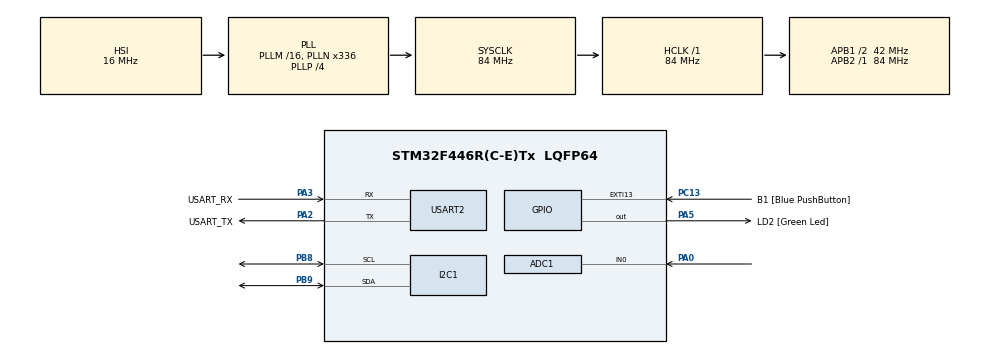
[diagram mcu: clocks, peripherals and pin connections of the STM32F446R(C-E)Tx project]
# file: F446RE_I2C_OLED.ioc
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ADC1.Channel-0\#ChannelRegularConversion=ADC_CHANNEL_0
ADC1.NbrOfConversionFlag=1
ADC1.Rank-0\#ChannelRegularConversion=1
ADC1.SamplingTime-0\#ChannelRegularConversion=ADC_SAMPLETIME_3CYCLES
ADC1.master=1
I2C1.I2C_Mode=I2C_Fast
Mcu.Family=STM32F4
Mcu.Name=STM32F446R(C-E)Tx
Mcu.Package=LQFP64
NVIC.PriorityGroup=NVIC_PRIORITYGROUP_0
PA0-WKUP.Signal=ADCx_IN0
PA13.GPIO_Label=TMS
PA13.Mode=Serial_Wire
PA13.Signal=SYS_JTMS-SWDIO
PA14.GPIO_Label=TCK
PA14.Mode=Serial_Wire
PA14.Signal=SYS_JTCK-SWCLK
PA2.GPIO_Label=USART_TX
PA2.Mode=Asynchronous
PA2.Signal=USART2_TX
PA3.GPIO_Label=USART_RX
PA3.Mode=Asynchronous
PA3.Signal=USART2_RX
PA5.GPIO_Label=LD2 [Green Led]
PA5.Signal=GPIO_Output
PB3.GPIO_Label=SWO
PB3.Signal=SYS_JTDO-SWO
PB8.Mode=I2C
PB8.Signal=I2C1_SCL
PB9.Mode=I2C
PB9.Signal=I2C1_SDA
PC13.GPIO_Label=B1 [Blue PushButton]
PC13.GPIO_ModeDefaultEXTI=GPIO_MODE_IT_FALLING
PC13.Signal=GPXTI13
PC14-OSC32_IN.Mode=LSE-External-Oscillator
PC14-OSC32_IN.Signal=RCC_OSC32_IN
PC15-OSC32_OUT.Mode=LSE-External-Oscillator
PC15-OSC32_OUT.Signal=RCC_OSC32_OUT
PH0-OSC_IN.Mode=HSE-External-Oscillator
PH0-OSC_IN.Signal=RCC_OSC_IN
PH1-OSC_OUT.Mode=HSE-External-Oscillator
PH1-OSC_OUT.Signal=RCC_OSC_OUT
ProjectManager.HeapSize=0x200
ProjectManager.StackSize=0x400
ProjectManager.TargetToolchain=STM32CubeIDE
RCC.48MHZClocksFreq_Value=84000000
RCC.AHBFreq_Value=84000000
RCC.APB1CLKDivider=RCC_HCLK_DIV2
RCC.APB1Freq_Value=42000000
RCC.APB1TimFreq_Value=84000000
RCC.APB2Freq_Value=84000000
RCC.APB2TimFreq_Value=84000000
RCC.CortexFreq_Value=84000000
RCC.FLatency-AdvancedSettings=FLASH_LATENCY_2
RCC.HCLKFreq_Value=84000000
RCC.HSE_VALUE=8000000
RCC.HSI_VALUE=16000000
RCC.PLLN=336
RCC.PLLP=RCC_PLLP_DIV4
RCC.SYSCLKFreq_VALUE=84000000
RCC.SYSCLKSource=RCC_SYSCLKSOURCE_PLLCLK
RCC.USBFreq_Value=168000000
RCC.VCOOutputFreq_Value=336000000
SH.ADCx_IN0.0=ADC1_IN0,IN0
USART2.VirtualMode=VM_ASYNC
board=NUCLEO-F446RE

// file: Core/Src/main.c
/* USER CODE BEGIN Header */
/**
  ******************************************************************************
  * @file           : main.c
  * @brief          : Main program body
  ******************************************************************************
  * @attention
  *
  * Copyright (c) 2022 STMicroelectronics.
  * All rights reserved.
  *
  * This software is licensed under terms that can be found in the LICENSE file
  * in the root directory of this software component.
  * If no LICENSE file comes with this software, it is provided AS-IS.
  *
  ******************************************************************************
  */
/* USER CODE END Header */
#include "main.h"

/* USER CODE BEGIN Includes */
#include <math.h>
#include "u8g2.h"
/* USER CODE END Includes */

 ADC_HandleTypeDef hadc1;

I2C_HandleTypeDef hi2c1;

UART_HandleTypeDef huart2;

/* USER CODE BEGIN PV */

// 'hypatia_demo', 128x64px

int progreso = 0;
int frame = 0;
volatile uint32_t TimeStamp_ms;

//const unsigned char epd_bitmap_hypatia_demo[] = {
//		0x00, 0x00, 0x00, 0x00, 0x00, 0x00, 0x00, 0x00, 0x00, 0x00, 0x00, 0x00, 0x00, 0x00, 0x00, 0x00,
//		0x00, 0x00, 0x00, 0x00, 0x00, 0x00, 0x00, 0x00, 0x00, 0x00, 0x00, 0x00, 0x00, 0x00, 0x00, 0x00,
//		0x00, 0x00, 0x00, 0x00, 0x00, 0x00, 0x00, 0x00, 0x00, 0x00, 0x00, 0x00, 0x00, 0x00, 0x00, 0x00,
//		0x7c, 0x00, 0x00, 0x01, 0xf0, 0x00, 0x00, 0x01, 0xc0, 0x00, 0x00, 0x07, 0xc0, 0x00, 0x00, 0x3e,
//		0x6c, 0x00, 0x00, 0x00, 0x30, 0x00, 0x00, 0x03, 0xc0, 0x00, 0x00, 0x06, 0x00, 0x00, 0x00, 0x36,
//		0x6c, 0x00, 0x00, 0x00, 0xf0, 0x00, 0x00, 0x06, 0xc0, 0x00, 0x00, 0x07, 0xc0, 0x00, 0x00, 0x3e,
//		0x6c, 0x00, 0x00, 0x01, 0x80, 0x00, 0x00, 0x07, 0xc0, 0x00, 0x00, 0x06, 0xc0, 0x00, 0x00, 0x36,
//		0x6c, 0x00, 0x00, 0x01, 0x80, 0x00, 0x00, 0x00, 0xc0, 0x00, 0x00, 0x06, 0xc0, 0x00, 0x00, 0x36,
//		0x7c, 0x00, 0x00, 0x01, 0xf0, 0x00, 0x00, 0x00, 0xc0, 0x00, 0x00, 0x07, 0xc0, 0x00, 0x00, 0x3e,
//		0x00, 0x00, 0x00, 0x00, 0x00, 0x00, 0x00, 0x00, 0x00, 0x00, 0x00, 0x00, 0x00, 0x00, 0x00, 0x00,
//		0x20, 0x00, 0x00, 0x00, 0x40, 0x00, 0x00, 0x00, 0x80, 0x00, 0x00, 0x01, 0x00, 0x00, 0x00, 0x02,
//		0x20, 0x00, 0x00, 0x00, 0x40, 0x00, 0x00, 0x00, 0x80, 0x00, 0x00, 0x01, 0x00, 0x00, 0x00, 0x02,
//		0x20, 0x00, 0x40, 0x00, 0x40, 0x00, 0x80, 0x00, 0x80, 0x01, 0x00, 0x01, 0x00, 0x02, 0x00, 0x02,
//		0x00, 0x00, 0x00, 0x00, 0x00, 0x00, 0x00, 0x00, 0x00, 0x00, 0x00, 0x00, 0x00, 0x00, 0x00, 0x00,
//		0x7f, 0xff, 0xff, 0xff, 0xff, 0xff, 0xff, 0xff, 0xff, 0xff, 0xff, 0xff, 0xff, 0xff, 0xff, 0xfe,
//		0x80, 0x00, 0x00, 0x00, 0x00, 0x00, 0x00, 0x00, 0x00, 0x00, 0x00, 0x00, 0x00, 0x00, 0x00, 0x01,
//		0x80, 0x00, 0x00, 0x00, 0x00, 0x00, 0x00, 0x00, 0x00, 0x00, 0x00, 0x01, 0x55, 0x55, 0x55, 0x55,
//		0x80, 0x00, 0x00, 0x00, 0x00, 0x00, 0x00, 0x00, 0x00, 0x00, 0x00, 0x00, 0xaa, 0xaa, 0xaa, 0xa9,
//		0x80, 0x00, 0x00, 0x00, 0x00, 0x00, 0x00, 0x00, 0x00, 0x00, 0x00, 0x01, 0x55, 0x55, 0x55, 0x55,
//		0x80, 0x00, 0x00, 0x00, 0x00, 0x00, 0x00, 0x00, 0x00, 0x00, 0x00, 0x00, 0xaa, 0xaa, 0xaa, 0xa9,
//		0x80, 0x00, 0x00, 0x00, 0x00, 0x00, 0x00, 0x00, 0x00, 0x00, 0x00, 0x01, 0x55, 0x55, 0x55, 0x55,
//		0x80, 0x00, 0x00, 0x00, 0x00, 0x00, 0x00, 0x00, 0x00, 0x00, 0x00, 0x00, 0xaa, 0xaa, 0xaa, 0xa9,
//		0x80, 0x00, 0x00, 0x00, 0x00, 0x00, 0x00, 0x00, 0x00, 0x00, 0x00, 0x01, 0x55, 0x55, 0x55, 0x55,
//		0x80, 0x00, 0x00, 0x00, 0x00, 0x00, 0x00, 0x00, 0x00, 0x00, 0x00, 0x00, 0xaa, 0xaa, 0xaa, 0xa9,
//		0x80, 0x00, 0x00, 0x00, 0x00, 0x00, 0x00, 0x00, 0x00, 0x00, 0x00, 0x01, 0x55, 0x55, 0x55, 0x55,
//		0x80, 0x00, 0x00, 0x00, 0x00, 0x00, 0x00, 0x00, 0x00, 0x00, 0x00, 0x00, 0xaa, 0xaa, 0xaa, 0xa9,
//		0x80, 0x00, 0x00, 0x00, 0x00, 0x00, 0x00, 0x00, 0x00, 0x00, 0x00, 0x00, 0x00, 0x00, 0x00, 0x01,
//		0x7f, 0xff, 0xff, 0xff, 0xff, 0xff, 0xff, 0xff, 0xff, 0xff, 0xff, 0xff, 0xff, 0xff, 0xff, 0xfe,
//		0x00, 0x00, 0x00, 0x00, 0x00, 0x00, 0x00, 0x00, 0x00, 0x00, 0x00, 0x00, 0x00, 0x00, 0x00, 0x00,
//		0x00, 0x00, 0x00, 0x00, 0x00, 0x00, 0x00, 0x00, 0x00, 0x00, 0x00, 0x00, 0x00, 0x00, 0x00, 0x00,
//		0x00, 0x00, 0x00, 0x00, 0x00, 0x00, 0x00, 0x00, 0x00, 0x00, 0x00, 0x00, 0x00, 0x00, 0x00, 0x00,
//		0x00, 0x00, 0x00, 0x00, 0x00, 0x00, 0x00, 0x00, 0x00, 0x00, 0x00, 0x00, 0x00, 0x00, 0x00, 0x00,
//		0x00, 0x00, 0x00, 0x7f, 0xe0, 0x00, 0x00, 0x00, 0x00, 0x00, 0x00, 0x00, 0x00, 0x00, 0x00, 0x00,
//		0x00, 0x00, 0x01, 0x80, 0x1c, 0x00, 0x00, 0x00, 0x00, 0x00, 0x00, 0x00, 0x00, 0x00, 0x00, 0x00,
//		0x00, 0x00, 0x0e, 0x0c, 0x03, 0x00, 0x00, 0x00, 0x00, 0x00, 0x00, 0x00, 0x00, 0x00, 0x00, 0x00,
//		0x00, 0x00, 0x10, 0xc8, 0x01, 0x00, 0x00, 0x00, 0x00, 0x00, 0x00, 0x00, 0x00, 0x00, 0x00, 0x00,
//		0x00, 0x00, 0x23, 0x80, 0x00, 0x80, 0x00, 0x00, 0x00, 0x00, 0x00, 0x00, 0x00, 0x00, 0x00, 0x00,
//		0x00, 0x00, 0x4e, 0x00, 0x00, 0x40, 0x00, 0x00, 0x00, 0x00, 0x00, 0x00, 0x00, 0x00, 0x00, 0x00,
//		0x00, 0x01, 0x98, 0x00, 0x00, 0x2e, 0x00, 0x00, 0x00, 0x00, 0x00, 0x00, 0x00, 0x00, 0x00, 0x00,
//		0x00, 0x01, 0x30, 0x00, 0x00, 0x21, 0xc0, 0x00, 0x00, 0x00, 0x00, 0x00, 0x00, 0x00, 0x00, 0x00,
//		0x00, 0x01, 0x00, 0x00, 0x00, 0x20, 0x38, 0x00, 0x00, 0x00, 0x00, 0x00, 0x00, 0x00, 0x00, 0x00,
//		0x00, 0x02, 0x00, 0x00, 0x00, 0x20, 0x1e, 0x00, 0x00, 0x6d, 0x9b, 0xef, 0xbf, 0x7b, 0xe0, 0x00,
//		0x00, 0x02, 0x00, 0x00, 0x00, 0x20, 0x39, 0x00, 0x00, 0x6d, 0x9b, 0x6d, 0x8c, 0x33, 0x60, 0x00,
//		0x00, 0x02, 0x00, 0x00, 0x00, 0x40, 0x6c, 0x80, 0x00, 0x7d, 0xfb, 0x6d, 0x8c, 0x33, 0x60, 0x00,
//		0x00, 0x02, 0x00, 0x00, 0x00, 0x40, 0x46, 0x40, 0x00, 0x6c, 0x63, 0xef, 0x8c, 0x33, 0xe0, 0x00,
//		0x00, 0x02, 0x00, 0x00, 0x00, 0xc0, 0x82, 0x40, 0x00, 0x6c, 0x63, 0x0d, 0x8c, 0x33, 0x60, 0x00,
//		0x00, 0x01, 0x00, 0x00, 0x01, 0x01, 0x82, 0x20, 0x00, 0x6c, 0x63, 0x0d, 0x8c, 0x7b, 0x60, 0x00,
//		0x00, 0x00, 0x80, 0x00, 0x02, 0x01, 0x01, 0x20, 0x00, 0x00, 0x00, 0x00, 0x00, 0x00, 0x00, 0x00,
//		0x00, 0x00, 0x40, 0x00, 0x04, 0x01, 0x01, 0x10, 0x00, 0x00, 0x00, 0x00, 0x00, 0x00, 0x00, 0x00,
//		0x00, 0x00, 0x20, 0x00, 0x38, 0x01, 0x01, 0x10, 0x00, 0x00, 0x00, 0x00, 0x00, 0x00, 0x00, 0x00,
//		0x00, 0x00, 0x1c, 0x00, 0xc0, 0x03, 0x01, 0x00, 0x00, 0x00, 0x00, 0x00, 0x00, 0x00, 0x00, 0x00,
//		0x00, 0x00, 0x03, 0xff, 0x00, 0x02, 0x01, 0x00, 0x00, 0x00, 0x00, 0x00, 0x00, 0x00, 0x00, 0x00,
//		0x00, 0x00, 0x00, 0x00, 0x00, 0x02, 0x03, 0x00, 0x00, 0x00, 0x00, 0x00, 0x00, 0x00, 0x00, 0x00,
//		0x00, 0x00, 0x00, 0x00, 0x00, 0x02, 0x02, 0x00, 0x00, 0x00, 0x00, 0x00, 0x00, 0x00, 0x00, 0x00,
//		0x00, 0x00, 0x00, 0x00, 0x00, 0x03, 0x06, 0x00, 0x00, 0x00, 0x00, 0x00, 0x00, 0x00, 0x00, 0x00,
//		0x00, 0x00, 0x00, 0x00, 0x00, 0x01, 0x04, 0x00, 0x00, 0x00, 0x00, 0x00, 0x00, 0x00, 0x00, 0x00,
//		0x00, 0x00, 0x00, 0x00, 0x00, 0x01, 0x84, 0x00, 0x00, 0x00, 0x00, 0x00, 0x00, 0x00, 0x00, 0x00,
//		0x00, 0x00, 0x00, 0x00, 0x00, 0x00, 0x8c, 0x00, 0x00, 0x00, 0x00, 0x00, 0x00, 0x00, 0x00, 0x00,
//		0x00, 0x00, 0x00, 0x00, 0x00, 0x00, 0x88, 0x00, 0x00, 0x00, 0x00, 0x00, 0x00, 0x00, 0x00, 0x00,
//		0x00, 0x00, 0x00, 0x00, 0x00, 0x00, 0x58, 0x00, 0x00, 0x00, 0x00, 0x00, 0x00, 0x00, 0x00, 0x00,
//		0x00, 0x00, 0x00, 0x00, 0x00, 0x00, 0x70, 0x00, 0x00, 0x00, 0x00, 0x00, 0x00, 0x00, 0x00, 0x00,
//		0x00, 0x00, 0x00, 0x00, 0x00, 0x00, 0x20, 0x00, 0x00, 0x00, 0x00, 0x00, 0x00, 0x00, 0x00, 0x00,
//		0x00, 0x00, 0x00, 0x00, 0x00, 0x00, 0x00, 0x00, 0x00, 0x00, 0x00, 0x00, 0x00, 0x00, 0x00, 0x00,
//		0x00, 0x00, 0x00, 0x00, 0x00, 0x00, 0x00, 0x00, 0x00, 0x00, 0x00, 0x00, 0x00, 0x00, 0x00, 0x00
//};

// 'hypatia_logo', 104x30px
const unsigned char epd_bitmap_hypatia_logo [] = {
	0x00, 0x0f, 0xfc, 0x00, 0x00, 0x00, 0x00, 0x00, 0x00, 0x00, 0x00, 0x00, 0x00, 0x00, 0x30, 0x03,
	0x80, 0x00, 0x00, 0x00, 0x00, 0x00, 0x00, 0x00, 0x00, 0x00, 0x01, 0xc1, 0x80, 0x60, 0x00, 0x00,
	0x00, 0x00, 0x00, 0x00, 0x00, 0x00, 0x00, 0x02, 0x19, 0x00, 0x20, 0x00, 0x00, 0x00, 0x00, 0x00,
	0x00, 0x00, 0x00, 0x00, 0x04, 0x70, 0x00, 0x10, 0x00, 0x00, 0x00, 0x00, 0x00, 0x00, 0x00, 0x00,
	0x00, 0x09, 0xc0, 0x00, 0x08, 0x00, 0x00, 0x00, 0x00, 0x00, 0x00, 0x00, 0x00, 0x00, 0x33, 0x00,
	0x00, 0x05, 0xc0, 0x00, 0x00, 0x00, 0x00, 0x00, 0x00, 0x00, 0x00, 0x26, 0x00, 0x00, 0x04, 0x38,
	0x00, 0x00, 0x00, 0x00, 0x00, 0x00, 0x00, 0x00, 0x20, 0x00, 0x00, 0x04, 0x07, 0x00, 0x00, 0x00,
	0x00, 0x00, 0x00, 0x00, 0x00, 0x40, 0x00, 0x00, 0x04, 0x03, 0xc0, 0x00, 0x0d, 0xb3, 0x7d, 0xf7,
	0xef, 0x7c, 0x40, 0x00, 0x00, 0x04, 0x07, 0x20, 0x00, 0x0d, 0xb3, 0x6d, 0xb1, 0x86, 0x6c, 0x40,
	0x00, 0x00, 0x08, 0x0d, 0x90, 0x00, 0x0f, 0xbf, 0x6d, 0xb1, 0x86, 0x6c, 0x40, 0x00, 0x00, 0x08,
	0x08, 0xc8, 0x00, 0x0d, 0x8c, 0x7d, 0xf1, 0x86, 0x7c, 0x40, 0x00, 0x00, 0x18, 0x10, 0x48, 0x00,
	0x0d, 0x8c, 0x61, 0xb1, 0x86, 0x6c, 0x20, 0x00, 0x00, 0x20, 0x30, 0x44, 0x00, 0x0d, 0x8c, 0x61,
	0xb1, 0x8f, 0x6c, 0x10, 0x00, 0x00, 0x40, 0x20, 0x24, 0x00, 0x00, 0x00, 0x00, 0x00, 0x00, 0x00,
	0x08, 0x00, 0x00, 0x80, 0x20, 0x22, 0x00, 0x00, 0x00, 0x00, 0x00, 0x00, 0x00, 0x04, 0x00, 0x07,
	0x00, 0x20, 0x22, 0x00, 0x00, 0x00, 0x00, 0x00, 0x00, 0x00, 0x03, 0x80, 0x18, 0x00, 0x60, 0x20,
	0x00, 0x00, 0x00, 0x00, 0x00, 0x00, 0x00, 0x00, 0x7f, 0xe0, 0x00, 0x40, 0x20, 0x00, 0x00, 0x00,
	0x00, 0x00, 0x00, 0x00, 0x00, 0x00, 0x00, 0x00, 0x40, 0x60, 0x00, 0x00, 0x00, 0x00, 0x00, 0x00,
	0x00, 0x00, 0x00, 0x00, 0x00, 0x40, 0x40, 0x00, 0x00, 0x00, 0x00, 0x00, 0x00, 0x00, 0x00, 0x00,
	0x00, 0x00, 0x60, 0xc0, 0x00, 0x00, 0x00, 0x00, 0x00, 0x00, 0x00, 0x00, 0x00, 0x00, 0x00, 0x20,
	0x80, 0x00, 0x00, 0x00, 0x00, 0x00, 0x00, 0x00, 0x00, 0x00, 0x00, 0x00, 0x30, 0x80, 0x00, 0x00,
	0x00, 0x00, 0x00, 0x00, 0x00, 0x00, 0x00, 0x00, 0x00, 0x11, 0x80, 0x00, 0x00, 0x00, 0x00, 0x00,
	0x00, 0x00, 0x00, 0x00, 0x00, 0x00, 0x11, 0x00, 0x00, 0x00, 0x00, 0x00, 0x00, 0x00, 0x00, 0x00,
	0x00, 0x00, 0x00, 0x0b, 0x00, 0x00, 0x00, 0x00, 0x00, 0x00, 0x00, 0x00, 0x00, 0x00, 0x00, 0x00,
	0x0e, 0x00, 0x00, 0x00, 0x00, 0x00, 0x00, 0x00, 0x00, 0x00, 0x00, 0x00, 0x00, 0x04, 0x00, 0x00,
	0x00, 0x00, 0x00, 0x00, 0x00, 0x00
};
// 'barra_medidor', 128x25px
const unsigned char epd_bitmap_barra_medidor [] = {
	0x7c, 0x00, 0x00, 0x01, 0xf0, 0x00, 0x00, 0x01, 0xc0, 0x00, 0x00, 0x07, 0xc0, 0x00, 0x00, 0x3e,
	0x6c, 0x00, 0x00, 0x00, 0x30, 0x00, 0x00, 0x03, 0xc0, 0x00, 0x00, 0x06, 0x00, 0x00, 0x00, 0x36,
	0x6c, 0x00, 0x00, 0x00, 0xf0, 0x00, 0x00, 0x06, 0xc0, 0x00, 0x00, 0x07, 0xc0, 0x00, 0x00, 0x3e,
	0x6c, 0x00, 0x00, 0x01, 0x80, 0x00, 0x00, 0x07, 0xc0, 0x00, 0x00, 0x06, 0xc0, 0x00, 0x00, 0x36,
	0x6c, 0x00, 0x00, 0x01, 0x80, 0x00, 0x00, 0x00, 0xc0, 0x00, 0x00, 0x06, 0xc0, 0x00, 0x00, 0x36,
	0x7c, 0x00, 0x00, 0x01, 0xf0, 0x00, 0x00, 0x00, 0xc0, 0x00, 0x00, 0x07, 0xc0, 0x00, 0x00, 0x3e,
	0x00, 0x00, 0x00, 0x00, 0x00, 0x00, 0x00, 0x00, 0x00, 0x00, 0x00, 0x00, 0x00, 0x00, 0x00, 0x00,
	0x20, 0x00, 0x00, 0x00, 0x40, 0x00, 0x00, 0x00, 0x80, 0x00, 0x00, 0x01, 0x00, 0x00, 0x00, 0x02,
	0x20, 0x00, 0x00, 0x00, 0x40, 0x00, 0x00, 0x00, 0x80, 0x00, 0x00, 0x01, 0x00, 0x00, 0x00, 0x02,
	0x20, 0x00, 0x40, 0x00, 0x40, 0x00, 0x80, 0x00, 0x80, 0x01, 0x00, 0x01, 0x00, 0x02, 0x00, 0x02,
	0x00, 0x00, 0x00, 0x00, 0x00, 0x00, 0x00, 0x00, 0x00, 0x00, 0x00, 0x00, 0x00, 0x00, 0x00, 0x00,
	0x7f, 0xff, 0xff, 0xff, 0xff, 0xff, 0xff, 0xff, 0xff, 0xff, 0xff, 0xff, 0xff, 0xff, 0xff, 0xfe,
	0x80, 0x00, 0x00, 0x00, 0x00, 0x00, 0x00, 0x00, 0x00, 0x00, 0x00, 0x00, 0x00, 0x00, 0x00, 0x01,
	0x80, 0x00, 0x00, 0x00, 0x00, 0x00, 0x00, 0x00, 0x00, 0x00, 0x00, 0x01, 0x55, 0x55, 0x55, 0x55,
	0x80, 0x00, 0x00, 0x00, 0x00, 0x00, 0x00, 0x00, 0x00, 0x00, 0x00, 0x00, 0xaa, 0xaa, 0xaa, 0xa9,
	0x80, 0x00, 0x00, 0x00, 0x00, 0x00, 0x00, 0x00, 0x00, 0x00, 0x00, 0x01, 0x55, 0x55, 0x55, 0x55,
	0x80, 0x00, 0x00, 0x00, 0x00, 0x00, 0x00, 0x00, 0x00, 0x00, 0x00, 0x00, 0xaa, 0xaa, 0xaa, 0xa9,
	0x80, 0x00, 0x00, 0x00, 0x00, 0x00, 0x00, 0x00, 0x00, 0x00, 0x00, 0x01, 0x55, 0x55, 0x55, 0x55,
	0x80, 0x00, 0x00, 0x00, 0x00, 0x00, 0x00, 0x00, 0x00, 0x00, 0x00, 0x00, 0xaa, 0xaa, 0xaa, 0xa9,
	0x80, 0x00, 0x00, 0x00, 0x00, 0x00, 0x00, 0x00, 0x00, 0x00, 0x00, 0x01, 0x55, 0x55, 0x55, 0x55,
	0x80, 0x00, 0x00, 0x00, 0x00, 0x00, 0x00, 0x00, 0x00, 0x00, 0x00, 0x00, 0xaa, 0xaa, 0xaa, 0xa9,
	0x80, 0x00, 0x00, 0x00, 0x00, 0x00, 0x00, 0x00, 0x00, 0x00, 0x00, 0x01, 0x55, 0x55, 0x55, 0x55,
	0x80, 0x00, 0x00, 0x00, 0x00, 0x00, 0x00, 0x00, 0x00, 0x00, 0x00, 0x00, 0xaa, 0xaa, 0xaa, 0xa9,
	0x80, 0x00, 0x00, 0x00, 0x00, 0x00, 0x00, 0x00, 0x00, 0x00, 0x00, 0x00, 0x00, 0x00, 0x00, 0x01,
	0x7f, 0xff, 0xff, 0xff, 0xff, 0xff, 0xff, 0xff, 0xff, 0xff, 0xff, 0xff, 0xff, 0xff, 0xff, 0xfe
};

// '0', 16x2px
const unsigned char epd_bitmap_anim_0 [] = {
	0x00, 0x00, 0x00, 0x00
};
// '3', 16x2px
const unsigned char epd_bitmap_anim_3 [] = {
	0xcc, 0xc0, 0xcc, 0xc0
};
// '2', 16x2px
const unsigned char epd_bitmap_anim_2 [] = {
	0xcc, 0x00, 0xcc, 0x00
};
// '1', 16x2px
const unsigned char epd_bitmap_anim_1 [] = {
	0xc0, 0x00, 0xc0, 0x00
};

// Array of all bitmaps for convenience. (Total bytes used to store images in PROGMEM = 128)
const int epd_bitmap_allArray_LEN = 4;
const unsigned char* epd_bitmap_allArray[4] = {
	epd_bitmap_anim_0,
	epd_bitmap_anim_1,
	epd_bitmap_anim_2,
	epd_bitmap_anim_3
};

/* USER CODE END PV */

void SystemClock_Config(void);
static void MX_GPIO_Init(void);
static void MX_USART2_UART_Init(void);
static void MX_I2C1_Init(void);
static void MX_ADC1_Init(void);
/* USER CODE BEGIN PFP */
uint8_t u8x8_stm32_gpio_and_delay(u8x8_t *u8x8, uint8_t msg, uint8_t arg_int, void *arg_ptr);
uint8_t u8x8_byte_i2c(u8x8_t *u8x8, uint8_t msg, uint8_t arg_int, void *arg_ptr);
uint32_t MAP(uint32_t au32_IN, uint32_t au32_INmin, uint32_t au32_INmax, uint32_t au32_OUTmin, uint32_t au32_OUTmax);

/* USER CODE END PFP */

int main(void)
{
  /* USER CODE BEGIN 1 */
	u8g2_t u8g2;

  /* USER CODE END 1 */

  /* MCU Configuration--------------------------------------------------------*/

  /* Reset of all peripherals, Initializes the Flash interface and the Systick. */
  HAL_Init();

  /* Configure the system clock */
  SystemClock_Config();

  /* Initialize all configured peripherals */
  MX_GPIO_Init();
  MX_USART2_UART_Init();
  MX_I2C1_Init();
  MX_ADC1_Init();
  /* USER CODE BEGIN 2 */

  u8g2_Setup_ssd1306_i2c_128x64_noname_2(&u8g2, U8G2_R0, u8x8_byte_i2c, u8x8_stm32_gpio_and_delay);
  u8g2_SetI2CAddress(&u8g2,0x3C);
  u8g2_InitDisplay(&u8g2); // send init sequence to the display, display is in sleep mode after this,
  u8g2_SetPowerSave(&u8g2, 0); // wake up display

  TimeStamp_ms = HAL_GetTick();

  /* USER CODE END 2 */

  /* Infinite loop */
  /* USER CODE BEGIN WHILE */
  while (1)
  {
	  u8g2_FirstPage(&u8g2);
	  do {

		  // dibujar background y barra medidora
//		  u8g2_DrawBitmap(&u8g2, 0, 0, 128/8, 64, epd_bitmap_hypatia_demo);
		  u8g2_DrawBitmap(&u8g2, 0, 3, 128/8, 25, epd_bitmap_barra_medidor);
		  u8g2_DrawBitmap(&u8g2, 13, 32, 104/8, 30, epd_bitmap_hypatia_logo);
		  u8g2_DrawBox(&u8g2, 2, 16, MAP(progreso, 0, 4096, 0, 124), 10);
//		  u8g2_SetFont(&u8g2, u8g2_font_ncenB14_tr);
//		  u8g2_DrawStr(&u8g2, 0, 15, "Hypatia! 123");
//		  u8g2_DrawCircle(&u8g2, 64, 40, 10, U8G2_DRAW_ALL);

		  // animacion de puntos suspensivos
		  u8g2_DrawBitmap(&u8g2, 7, 58, 16/8, 2, epd_bitmap_allArray[frame]);

	  } while (u8g2_NextPage(&u8g2));

	  // Obtener lectura del ADC
	  HAL_ADC_Start(&hadc1);
	  HAL_ADC_PollForConversion(&hadc1, HAL_MAX_DELAY);
	  progreso = HAL_ADC_GetValue(&hadc1);

	  // Incremento de frame y setup del framerate
	  if(HAL_GetTick() - TimeStamp_ms > 1000) {
		  TimeStamp_ms = HAL_GetTick();
		  frame++;
	  }
	  if(frame > 3) frame = 0;

//	  if(progreso < 100) {
//		  progreso++;
//	  } else {
//		  progreso = 0;
//	  }

    /* USER CODE END WHILE */

  }
}

void SystemClock_Config(void)
{
  RCC_OscInitTypeDef RCC_OscInitStruct = {0};
  RCC_ClkInitTypeDef RCC_ClkInitStruct = {0};

  /** Configure the main internal regulator output voltage
  */
  __HAL_RCC_PWR_CLK_ENABLE();
  __HAL_PWR_VOLTAGESCALING_CONFIG(PWR_REGULATOR_VOLTAGE_SCALE3);

  /** Initializes the RCC Oscillators according to the specified parameters
  * in the RCC_OscInitTypeDef structure.
  */
  RCC_OscInitStruct.OscillatorType = RCC_OSCILLATORTYPE_HSI;
  RCC_OscInitStruct.HSIState = RCC_HSI_ON;
  RCC_OscInitStruct.HSICalibrationValue = RCC_HSICALIBRATION_DEFAULT;
  RCC_OscInitStruct.PLL.PLLState = RCC_PLL_ON;
  RCC_OscInitStruct.PLL.PLLSource = RCC_PLLSOURCE_HSI;
  RCC_OscInitStruct.PLL.PLLM = 16;
  RCC_OscInitStruct.PLL.PLLN = 336;
  RCC_OscInitStruct.PLL.PLLP = RCC_PLLP_DIV4;
  RCC_OscInitStruct.PLL.PLLQ = 2;
  RCC_OscInitStruct.PLL.PLLR = 2;
  if (HAL_RCC_OscConfig(&RCC_OscInitStruct) != HAL_OK)
  {
    Error_Handler();
  }

  /** Initializes the CPU, AHB and APB buses clocks
  */
  RCC_ClkInitStruct.ClockType = RCC_CLOCKTYPE_HCLK|RCC_CLOCKTYPE_SYSCLK
                              |RCC_CLOCKTYPE_PCLK1|RCC_CLOCKTYPE_PCLK2;
  RCC_ClkInitStruct.SYSCLKSource = RCC_SYSCLKSOURCE_PLLCLK;
  RCC_ClkInitStruct.AHBCLKDivider = RCC_SYSCLK_DIV1;
  RCC_ClkInitStruct.APB1CLKDivider = RCC_HCLK_DIV2;
  RCC_ClkInitStruct.APB2CLKDivider = RCC_HCLK_DIV1;

  if (HAL_RCC_ClockConfig(&RCC_ClkInitStruct, FLASH_LATENCY_2) != HAL_OK)
  {
    Error_Handler();
  }
}

static void MX_ADC1_Init(void)
{

  ADC_ChannelConfTypeDef sConfig = {0};

  /** Configure the global features of the ADC (Clock, Resolution, Data Alignment and number of conversion)
  */
  hadc1.Instance = ADC1;
  hadc1.Init.ClockPrescaler = ADC_CLOCK_SYNC_PCLK_DIV4;
  hadc1.Init.Resolution = ADC_RESOLUTION_12B;
  hadc1.Init.ScanConvMode = DISABLE;
  hadc1.Init.ContinuousConvMode = DISABLE;
  hadc1.Init.DiscontinuousConvMode = DISABLE;
  hadc1.Init.ExternalTrigConvEdge = ADC_EXTERNALTRIGCONVEDGE_NONE;
  hadc1.Init.ExternalTrigConv = ADC_SOFTWARE_START;
  hadc1.Init.DataAlign = ADC_DATAALIGN_RIGHT;
  hadc1.Init.NbrOfConversion = 1;
  hadc1.Init.DMAContinuousRequests = DISABLE;
  hadc1.Init.EOCSelection = ADC_EOC_SINGLE_CONV;
  if (HAL_ADC_Init(&hadc1) != HAL_OK)
  {
    Error_Handler();
  }

  /** Configure for the selected ADC regular channel its corresponding rank in the sequencer and its sample time.
  */
  sConfig.Channel = ADC_CHANNEL_0;
  sConfig.Rank = 1;
  sConfig.SamplingTime = ADC_SAMPLETIME_3CYCLES;
  if (HAL_ADC_ConfigChannel(&hadc1, &sConfig) != HAL_OK)
  {
    Error_Handler();
  }

}

static void MX_I2C1_Init(void)
{

  hi2c1.Instance = I2C1;
  hi2c1.Init.ClockSpeed = 400000;
  hi2c1.Init.DutyCycle = I2C_DUTYCYCLE_2;
  hi2c1.Init.OwnAddress1 = 0;
  hi2c1.Init.AddressingMode = I2C_ADDRESSINGMODE_7BIT;
  hi2c1.Init.DualAddressMode = I2C_DUALADDRESS_DISABLE;
  hi2c1.Init.OwnAddress2 = 0;
  hi2c1.Init.GeneralCallMode = I2C_GENERALCALL_DISABLE;
  hi2c1.Init.NoStretchMode = I2C_NOSTRETCH_DISABLE;
  if (HAL_I2C_Init(&hi2c1) != HAL_OK)
  {
    Error_Handler();
  }

}

static void MX_USART2_UART_Init(void)
{

  huart2.Instance = USART2;
  huart2.Init.BaudRate = 115200;
  huart2.Init.WordLength = UART_WORDLENGTH_8B;
  huart2.Init.StopBits = UART_STOPBITS_1;
  huart2.Init.Parity = UART_PARITY_NONE;
  huart2.Init.Mode = UART_MODE_TX_RX;
  huart2.Init.HwFlowCtl = UART_HWCONTROL_NONE;
  huart2.Init.OverSampling = UART_OVERSAMPLING_16;
  if (HAL_UART_Init(&huart2) != HAL_OK)
  {
    Error_Handler();
  }

}

static void MX_GPIO_Init(void)
{
  GPIO_InitTypeDef GPIO_InitStruct = {0};

  /* GPIO Ports Clock Enable */
  __HAL_RCC_GPIOC_CLK_ENABLE();
  __HAL_RCC_GPIOH_CLK_ENABLE();
  __HAL_RCC_GPIOA_CLK_ENABLE();
  __HAL_RCC_GPIOB_CLK_ENABLE();

  /*Configure GPIO pin Output Level */
  HAL_GPIO_WritePin(LD2_GPIO_Port, LD2_Pin, GPIO_PIN_RESET);

  /*Configure GPIO pin : B1_Pin */
  GPIO_InitStruct.Pin = B1_Pin;
  GPIO_InitStruct.Mode = GPIO_MODE_IT_FALLING;
  GPIO_InitStruct.Pull = GPIO_NOPULL;
  HAL_GPIO_Init(B1_GPIO_Port, &GPIO_InitStruct);

  /*Configure GPIO pin : LD2_Pin */
  GPIO_InitStruct.Pin = LD2_Pin;
  GPIO_InitStruct.Mode = GPIO_MODE_OUTPUT_PP;
  GPIO_InitStruct.Pull = GPIO_NOPULL;
  GPIO_InitStruct.Speed = GPIO_SPEED_FREQ_LOW;
  HAL_GPIO_Init(LD2_GPIO_Port, &GPIO_InitStruct);

}

/* USER CODE BEGIN 4 */

// Byte GPIO and Delay Callback
uint8_t u8x8_stm32_gpio_and_delay(u8x8_t *u8x8, uint8_t msg, uint8_t arg_int, void *arg_ptr) {
	switch (msg) {
	case U8X8_MSG_GPIO_AND_DELAY_INIT:
		HAL_Delay(1);
		break;
	case U8X8_MSG_DELAY_MILLI:
		HAL_Delay(arg_int);
		break;
	default:
		u8x8_SetGPIOResult(u8x8, 1);			// default return value
		break;
	}
	return 1;
}

// Communication Callback
uint8_t u8x8_byte_i2c(u8x8_t *u8x8, uint8_t msg, uint8_t arg_int, void *arg_ptr)
{
	static uint8_t buffer[32];		/* u8g2/u8x8 will never send more than 32 bytes between START_TRANSFER and END_TRANSFER */
	static uint8_t buf_idx;
	uint8_t *data;

	switch(msg)
	{
	case U8X8_MSG_BYTE_SEND:
		data = (uint8_t *)arg_ptr;
		while( arg_int > 0 )
		{
			buffer[buf_idx++] = *data;
			data++;
			arg_int--;
		}
		break;
	case U8X8_MSG_BYTE_INIT:
		/* add your custom code to init i2c subsystem */
		break;
	case U8X8_MSG_BYTE_SET_DC:
		/* ignored for i2c */
		break;
	case U8X8_MSG_BYTE_START_TRANSFER:
		buf_idx = 0;
		break;
	case U8X8_MSG_BYTE_END_TRANSFER:
		HAL_I2C_Master_Transmit(&hi2c1, u8x8_GetI2CAddress(u8x8) << 1, buffer, buf_idx, 1000);
		break;
	default:
		return 0;
	}
	return 1;
}

uint32_t MAP(uint32_t au32_IN, uint32_t au32_INmin, uint32_t au32_INmax, uint32_t au32_OUTmin, uint32_t au32_OUTmax)
{
    return ((((au32_IN - au32_INmin)*(au32_OUTmax - au32_OUTmin))/(au32_INmax - au32_INmin)) + au32_OUTmin);
}

/* USER CODE END 4 */

void Error_Handler(void)
{
  __disable_irq();
  while (1)
  {
  }
}
